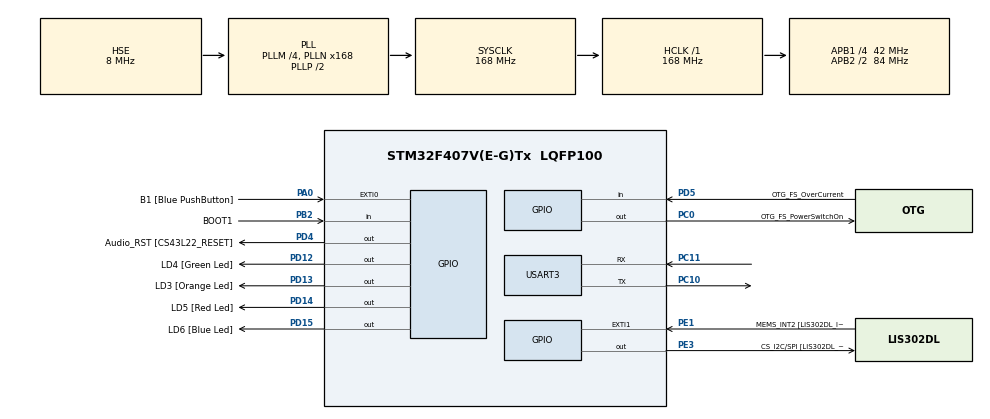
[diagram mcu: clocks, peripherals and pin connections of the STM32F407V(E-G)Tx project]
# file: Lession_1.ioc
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Mcu.Family=STM32F4
Mcu.Name=STM32F407V(E-G)Tx
Mcu.Package=LQFP100
NVIC.PriorityGroup=NVIC_PRIORITYGROUP_0
PA0-WKUP.GPIO_Label=B1 [Blue PushButton]
PA0-WKUP.Signal=GPXTI0
PA10.GPIO_Label=OTG_FS_ID
PA10.GPIO_Mode=GPIO_MODE_AF_PP
PA10.GPIO_PuPd=GPIO_NOPULL
PA10.GPIO_Speed=GPIO_SPEED_FREQ_LOW
PA10.Signal=USB_OTG_FS_ID
PA11.GPIO_Label=OTG_FS_DM
PA11.GPIO_Mode=GPIO_MODE_AF_PP
PA11.GPIO_PuPd=GPIO_NOPULL
PA11.GPIO_Speed=GPIO_SPEED_FREQ_LOW
PA11.Signal=USB_OTG_FS_DM
PA12.GPIO_Label=OTG_FS_DP
PA12.GPIO_Mode=GPIO_MODE_AF_PP
PA12.GPIO_PuPd=GPIO_NOPULL
PA12.GPIO_Speed=GPIO_SPEED_FREQ_LOW
PA12.Signal=USB_OTG_FS_DP
PA13.GPIO_Label=SWDIO
PA13.Mode=Trace_Asynchronous_SW
PA13.Signal=SYS_JTMS-SWDIO
PA14.GPIO_Label=SWCLK
PA14.Mode=Trace_Asynchronous_SW
PA14.Signal=SYS_JTCK-SWCLK
PA4.GPIO_Label=I2S3_WS [CS43L22_LRCK]
PA4.GPIO_Mode=GPIO_MODE_AF_PP
PA4.GPIO_PuPd=GPIO_NOPULL
PA4.GPIO_Speed=GPIO_SPEED_FREQ_LOW
PA4.Signal=I2S3_WS
PA5.GPIO_Label=SPI1_SCK [LIS302DL_SCL/SPC]
PA5.GPIO_Mode=GPIO_MODE_AF_PP
PA5.GPIO_PuPd=GPIO_NOPULL
PA5.GPIO_Speed=GPIO_SPEED_FREQ_LOW
PA5.Signal=SPI1_SCK
PA6.GPIO_Label=SPI1_MISO [LIS302DL_SDO]
PA6.GPIO_Mode=GPIO_MODE_AF_PP
PA6.GPIO_PuPd=GPIO_NOPULL
PA6.GPIO_Speed=GPIO_SPEED_FREQ_LOW
PA6.Signal=SPI1_MISO
PA7.GPIO_Label=SPI1_MOSI [LIS302DL_SDA/SDI/SDO]
PA7.GPIO_Mode=GPIO_MODE_AF_PP
PA7.GPIO_PuPd=GPIO_NOPULL
PA7.GPIO_Speed=GPIO_SPEED_FREQ_LOW
PA7.Signal=SPI1_MOSI
PA9.GPIO_Label=VBUS_FS
PA9.GPIO_Mode=GPIO_MODE_INPUT
PA9.GPIO_PuPd=GPIO_NOPULL
PA9.Signal=USB_OTG_FS_VBUS
PB10.GPIO_Label=CLK_IN [MP45DT02_CLK]
PB10.GPIO_Mode=GPIO_MODE_AF_PP
PB10.GPIO_PuPd=GPIO_NOPULL
PB10.GPIO_Speed=GPIO_SPEED_FREQ_LOW
PB10.Signal=I2S2_CK
PB2.GPIO_Label=BOOT1
PB2.GPIO_Mode=GPIO_MODE_INPUT
PB2.GPIO_PuPd=GPIO_NOPULL
PB2.Signal=GPIO_Input
PB3.GPIO_Label=SWO
PB3.Mode=Trace_Asynchronous_SW
PB3.Signal=SYS_JTDO-SWO
PB6.GPIO_Label=Audio_SCL [CS43L22_SCL]
PB6.GPIO_Mode=GPIO_MODE_AF_OD
PB6.GPIO_PuPd=GPIO_NOPULL
PB6.GPIO_Speed=GPIO_SPEED_FREQ_LOW
PB6.Signal=I2C1_SCL
PB9.GPIO_Label=Audio_SDA [CS43L22_SDA]
PB9.GPIO_Mode=GPIO_MODE_AF_OD
PB9.GPIO_PuPd=GPIO_NOPULL
PB9.GPIO_Speed=GPIO_SPEED_FREQ_LOW
PB9.Signal=I2C1_SDA
PC0.GPIO_Label=OTG_FS_PowerSwitchOn
PC0.GPIO_PuPd=GPIO_NOPULL
PC0.GPIO_Speed=GPIO_SPEED_FREQ_LOW
PC0.PinState=GPIO_PIN_SET
PC0.Signal=GPIO_Output
PC10.Mode=Asynchronous
PC10.Signal=USART3_TX
PC11.Mode=Asynchronous
PC11.Signal=USART3_RX
PC12.GPIO_Label=I2S3_SD [CS43L22_SDIN]
PC12.GPIO_Mode=GPIO_MODE_AF_PP
PC12.GPIO_PuPd=GPIO_NOPULL
PC12.GPIO_Speed=GPIO_SPEED_FREQ_LOW
PC12.Signal=I2S3_SD
PC14-OSC32_IN.GPIO_Label=PC14-OSC32_IN
PC14-OSC32_IN.Signal=RCC_OSC32_IN
PC15-OSC32_OUT.GPIO_Label=PC15-OSC32_OUT
PC15-OSC32_OUT.Signal=RCC_OSC32_OUT
PC3.GPIO_Label=PDM_OUT [MP45DT02_DOUT]
PC3.GPIO_Mode=GPIO_MODE_AF_PP
PC3.GPIO_PuPd=GPIO_NOPULL
PC3.GPIO_Speed=GPIO_SPEED_FREQ_LOW
PC3.Signal=I2S2_SD
PC7.GPIO_Label=I2S3_MCK [CS43L22_MCLK]
PC7.GPIO_Mode=GPIO_MODE_AF_PP
PC7.GPIO_PuPd=GPIO_NOPULL
PC7.GPIO_Speed=GPIO_SPEED_FREQ_LOW
PC7.Signal=I2S3_MCK
PD12.GPIO_Label=LD4 [Green Led]
PD12.GPIO_PuPd=GPIO_NOPULL
PD12.GPIO_Speed=GPIO_SPEED_FREQ_LOW
PD12.Signal=GPIO_Output
PD13.GPIO_Label=LD3 [Orange Led]
PD13.GPIO_PuPd=GPIO_NOPULL
PD13.GPIO_Speed=GPIO_SPEED_FREQ_LOW
PD13.Signal=GPIO_Output
PD14.GPIO_Label=LD5 [Red Led]
PD14.GPIO_PuPd=GPIO_NOPULL
PD14.GPIO_Speed=GPIO_SPEED_FREQ_LOW
PD14.Signal=GPIO_Output
PD15.GPIO_Label=LD6 [Blue Led]
PD15.GPIO_PuPd=GPIO_NOPULL
PD15.GPIO_Speed=GPIO_SPEED_FREQ_LOW
PD15.Signal=GPIO_Output
PD4.GPIO_Label=Audio_RST [CS43L22_RESET]
PD4.GPIO_PuPd=GPIO_NOPULL
PD4.GPIO_Speed=GPIO_SPEED_FREQ_LOW
PD4.Signal=GPIO_Output
PD5.GPIO_Label=OTG_FS_OverCurrent
PD5.GPIO_Mode=GPIO_MODE_INPUT
PD5.GPIO_PuPd=GPIO_NOPULL
PD5.Signal=GPIO_Input
PE1.GPIO_Label=MEMS_INT2 [LIS302DL_INT2]
PE1.GPIO_ModeDefaultEXTI=GPIO_MODE_EVT_RISING
PE1.GPIO_PuPd=GPIO_NOPULL
PE1.Signal=GPXTI1
PE3.GPIO_Label=CS_I2C/SPI [LIS302DL_CS_I2C/SPI]
PE3.GPIO_PuPd=GPIO_NOPULL
PE3.GPIO_Speed=GPIO_SPEED_FREQ_LOW
PE3.Signal=GPIO_Output
PH0-OSC_IN.GPIO_Label=PH0-OSC_IN
PH0-OSC_IN.Mode=HSE-External-Oscillator
PH0-OSC_IN.Signal=RCC_OSC_IN
PH1-OSC_OUT.GPIO_Label=PH1-OSC_OUT
PH1-OSC_OUT.Mode=HSE-External-Oscillator
PH1-OSC_OUT.Signal=RCC_OSC_OUT
ProjectManager.HeapSize=0x200
ProjectManager.StackSize=0x400
ProjectManager.TargetToolchain=MDK-ARM V5.27
RCC.48MHZClocksFreq_Value=48000000
RCC.AHBFreq_Value=168000000
RCC.APB1CLKDivider=RCC_HCLK_DIV4
RCC.APB1Freq_Value=42000000
RCC.APB1TimFreq_Value=84000000
RCC.APB2CLKDivider=RCC_HCLK_DIV2
RCC.APB2Freq_Value=84000000
RCC.APB2TimFreq_Value=168000000
RCC.CortexFreq_Value=168000000
RCC.HCLKFreq_Value=168000000
RCC.HSE_VALUE=8000000
RCC.HSI_VALUE=16000000
RCC.LSE_VALUE=32768
RCC.PLLM=4
RCC.PLLN=168
RCC.PLLQ=7
RCC.PLLSourceVirtual=RCC_PLLSOURCE_HSE
RCC.SYSCLKFreq_VALUE=168000000
RCC.SYSCLKSource=RCC_SYSCLKSOURCE_PLLCLK
RCC.VCOOutputFreq_Value=336000000
USART3.VirtualMode=VM_ASYNC
VP_CRC_VS_CRC.Mode=CRC_Activate
board=STM32F407G-DISC1

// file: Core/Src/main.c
/* USER CODE BEGIN Header */
/**
  ******************************************************************************
  * @file           : main.c
  * @brief          : Main program body
  ******************************************************************************
  * @attention
  *
  * <h2><center>&copy; Copyright (c) 2021 STMicroelectronics.
  * All rights reserved.</center></h2>
  *
  * This software component is licensed by ST under BSD 3-Clause license,
  * the "License"; You may not use this file except in compliance with the
  * License. You may obtain a copy of the License at:
  *                        opensource.org/licenses/BSD-3-Clause
  *
  ******************************************************************************
  */
/* USER CODE END Header */
#include "stdio.h"
#include "stdint.h"
#include "stdbool.h"

/* USER CODE BEGIN Includes */

#include "main.h"

/* USER CODE END Includes */

CRC_HandleTypeDef hcrc;

UART_HandleTypeDef huart3;

#define c_uart	&huart3

void SystemClock_Config(void);
static void MX_GPIO_Init(void);
static void MX_CRC_Init(void);
static void MX_USART3_UART_Init(void);
/* USER CODE BEGIN PFP */

/* Re-implement function fputc: Refer to: */
/* https://developer.arm.com/documentation/dui0475/c/the-arm-c-and-c---libraries/redefining-low-level-library-functions-to-enable-direct-use-of-high-level-library-functions */
/* Private function prototypes -----------------------------------------------*/
struct __FILE
{
  int handle;
  /* Whatever you require here. If the only file you are using is */
  /* standard output using printf() for debugging, no file handling */
  /* is required. */
};
/*send text over SWV*/
int fputc(int ch, FILE *f) {
    ITM_SendChar(ch);//send method for SWV
    return(ch);
}

/* USER CODE END PFP */

/* USER CODE BEGIN 0 */

#define BL_RX_LEN 	200
uint8_t bl_rx_buffer[BL_RX_LEN];

uint8_t supported_command[] = {
				BL_GET_VER,
				BL_GET_HELP,
				BL_GET_CID,
				BL_GET_RDP_STATUS,
				BL_GO_TO_ADDR,
				BL_FLASH_ERASE,
				BL_MEM_WRITE,
				BL_EN_R_W_PROTECT,
				BL_MEM_READ,
				BL_READ_SECTOR_STATUS,
				BL_OTP_READ,
				BL_DIS_R_W_PROTECT
};

/* USER CODE END 0 */

int main(void)
{

  /* MCU Configuration--------------------------------------------------------*/

  /* Reset of all peripherals, Initializes the Flash interface and the Systick. */
  HAL_Init();

  /* Configure the system clock */
  SystemClock_Config();

  /* Initialize all configured peripherals */
  MX_GPIO_Init();
  MX_CRC_Init();
  MX_USART3_UART_Init();

  /* CUSTOM BOOTLOADER CODE BEGIN 2 */
	// User pressed button to confirm using bootloader command
	if (HAL_GPIO_ReadPin(GPIOA, GPIO_PIN_0) == GPIO_PIN_SET) {
		printf("BL_DEBUG_MSG: Button is pressed .. going to BL mode\r\n");
		// continue in bootloader mode
		bootloader_uart_read_data();
	}
	// User not pressed: Confirm move to user application
	else {
		printf("BL_DEBUG_MSG: Button is not pressed .. executing User app\r\n");
		bootloader_jump_to_user_app();
	}
  /* CUSTOM BOOTLOADER CODE END 2 */
}

void bootloader_uart_read_data(void) {
	uint8_t rcv_len = 0;

	while(1) {
		// Default Frame: [Lengh::1Byte] [Command:1Byte] [...] [CRC:4Byte]
		memset(bl_rx_buffer, 0, 200);
		// Here we read ad decode the commands coming from host
		// First read only one byte from the host, which is the "length" field of the command
		HAL_UART_Receive(c_uart, bl_rx_buffer, 1, HAL_MAX_DELAY);
		rcv_len = bl_rx_buffer[0];
		// Next to receive all following data, using the rcv_len
		HAL_UART_Receive(c_uart, &bl_rx_buffer[1], rcv_len, HAL_MAX_DELAY);
		// Swtich command
		switch(bl_rx_buffer[1]) {
			case BL_GET_VER:
				bootloader_handle_getver_cmd(bl_rx_buffer);
				break;
			case BL_GET_HELP:
				bootloader_handle_gethelp_cmd(bl_rx_buffer);
				break;
			case BL_GET_CID:
				bootloader_handle_getcid_cmd(bl_rx_buffer);
				break;
			case BL_GET_RDP_STATUS:
				bootloader_handle_getrdp_cmd(bl_rx_buffer);
				break;
			case BL_GO_TO_ADDR:
				bootloader_handle_go_cmd(bl_rx_buffer);
				break;
			case BL_FLASH_ERASE:
				bootloader_handle_flash_erase_cmd(bl_rx_buffer);
				break;
			case BL_MEM_WRITE:
				bootloader_handle_mem_write_cmd(bl_rx_buffer);
				break;
			case BL_EN_R_W_PROTECT:
				bootloader_handle_enb_rw_cmd(bl_rx_buffer);
				break;
			case BL_MEM_READ:
				bootloader_handle_mem_read_cmd(bl_rx_buffer);
				break;
			case BL_READ_SECTOR_STATUS:
				bootloader_handle_read_flash_cmd(bl_rx_buffer);
				break;
			case BL_OTP_READ:
				bootloader_handle_otp_read_cmd(bl_rx_buffer);
				break;
			case BL_DIS_R_W_PROTECT:
				bootloader_handle_dis_rw_cmd(bl_rx_buffer);
				break;
			default:
				printf("BL_DEBUG_MSG: Invaid command code recieved from host\r\n");
				break;
		}

	}
}

/*
	Code to jump to user application
  Here we use Sector 2 of FASH_SECTOR2_BASE_ADDRESS
  is where the user application stored
*/
void bootloader_jump_to_user_app(void) {
	// Function pointer to hold the address of the reset handler of the user app
	void (*app_reset_handler)(void);

	printf("BL_DEBUG_MSG: Bootloader jump to user application\r\n");

	// 1. Configure the MSP by reading the value from the baseline address of the Flash sector 2
	uint32_t msp_value = *(volatile uint32_t*)FLASH_SECTOR2_BASE_ADDRESS;
	printf("BL_DEBUG_MSG: MSP Value is %#x \r\n", msp_value);
	// Using CMSIS API set MSP
	__set_MSP(msp_value);

	/*
	2. Not fetch the reset handler address of the user application
	from the location FLASH_SECTOR2_BASE_ADDRESS + 4
	*/
	uint32_t resethandler_value = *(volatile uint32_t*) (FLASH_SECTOR2_BASE_ADDRESS + 4);

	app_reset_handler = (void*) resethandler_value;

	printf("BL_DEBUG_MSG: App resethandler addr is %#x \r\n", (uint32_t)app_reset_handler);

	// 3. Change VTOR register and Jump to reset handler of the user application
	SCB->VTOR = FLASH_SECTOR2_BASE_ADDRESS;
	app_reset_handler();
}

void SystemClock_Config(void)
{
  RCC_OscInitTypeDef RCC_OscInitStruct = {0};
  RCC_ClkInitTypeDef RCC_ClkInitStruct = {0};

  /** Configure the main internal regulator output voltage
  */
  __HAL_RCC_PWR_CLK_ENABLE();
  __HAL_PWR_VOLTAGESCALING_CONFIG(PWR_REGULATOR_VOLTAGE_SCALE1);
  /** Initializes the RCC Oscillators according to the specified parameters
  * in the RCC_OscInitTypeDef structure.
  */
  RCC_OscInitStruct.OscillatorType = RCC_OSCILLATORTYPE_HSE;
  RCC_OscInitStruct.HSEState = RCC_HSE_ON;
  RCC_OscInitStruct.PLL.PLLState = RCC_PLL_ON;
  RCC_OscInitStruct.PLL.PLLSource = RCC_PLLSOURCE_HSE;
  RCC_OscInitStruct.PLL.PLLM = 4;
  RCC_OscInitStruct.PLL.PLLN = 168;
  RCC_OscInitStruct.PLL.PLLP = RCC_PLLP_DIV2;
  RCC_OscInitStruct.PLL.PLLQ = 7;
  if (HAL_RCC_OscConfig(&RCC_OscInitStruct) != HAL_OK)
  {
    Error_Handler();
  }
  /** Initializes the CPU, AHB and APB buses clocks
  */
  RCC_ClkInitStruct.ClockType = RCC_CLOCKTYPE_HCLK|RCC_CLOCKTYPE_SYSCLK
                              |RCC_CLOCKTYPE_PCLK1|RCC_CLOCKTYPE_PCLK2;
  RCC_ClkInitStruct.SYSCLKSource = RCC_SYSCLKSOURCE_PLLCLK;
  RCC_ClkInitStruct.AHBCLKDivider = RCC_SYSCLK_DIV1;
  RCC_ClkInitStruct.APB1CLKDivider = RCC_HCLK_DIV4;
  RCC_ClkInitStruct.APB2CLKDivider = RCC_HCLK_DIV2;

  if (HAL_RCC_ClockConfig(&RCC_ClkInitStruct, FLASH_LATENCY_5) != HAL_OK)
  {
    Error_Handler();
  }
}

static void MX_CRC_Init(void)
{

  hcrc.Instance = CRC;
  if (HAL_CRC_Init(&hcrc) != HAL_OK)
  {
    Error_Handler();
  }

}

static void MX_USART3_UART_Init(void)
{

  huart3.Instance = USART3;
  huart3.Init.BaudRate = 115200;
  huart3.Init.WordLength = UART_WORDLENGTH_8B;
  huart3.Init.StopBits = UART_STOPBITS_1;
  huart3.Init.Parity = UART_PARITY_NONE;
  huart3.Init.Mode = UART_MODE_TX_RX;
  huart3.Init.HwFlowCtl = UART_HWCONTROL_NONE;
  huart3.Init.OverSampling = UART_OVERSAMPLING_16;
  if (HAL_UART_Init(&huart3) != HAL_OK)
  {
    Error_Handler();
  }

}

static void MX_GPIO_Init(void)
{
  GPIO_InitTypeDef GPIO_InitStruct = {0};

  /* GPIO Ports Clock Enable */
  __HAL_RCC_GPIOE_CLK_ENABLE();
  __HAL_RCC_GPIOC_CLK_ENABLE();
  __HAL_RCC_GPIOH_CLK_ENABLE();
  __HAL_RCC_GPIOA_CLK_ENABLE();
  __HAL_RCC_GPIOB_CLK_ENABLE();
  __HAL_RCC_GPIOD_CLK_ENABLE();

  /*Configure GPIO pin Output Level */
  HAL_GPIO_WritePin(CS_I2C_SPI_GPIO_Port, CS_I2C_SPI_Pin, GPIO_PIN_RESET);

  /*Configure GPIO pin Output Level */
  HAL_GPIO_WritePin(OTG_FS_PowerSwitchOn_GPIO_Port, OTG_FS_PowerSwitchOn_Pin, GPIO_PIN_SET);

  /*Configure GPIO pin Output Level */
  HAL_GPIO_WritePin(GPIOD, LD4_Pin|LD3_Pin|LD5_Pin|LD6_Pin
                          |Audio_RST_Pin, GPIO_PIN_RESET);

  /*Configure GPIO pin : CS_I2C_SPI_Pin */
  GPIO_InitStruct.Pin = CS_I2C_SPI_Pin;
  GPIO_InitStruct.Mode = GPIO_MODE_OUTPUT_PP;
  GPIO_InitStruct.Pull = GPIO_NOPULL;
  GPIO_InitStruct.Speed = GPIO_SPEED_FREQ_LOW;
  HAL_GPIO_Init(CS_I2C_SPI_GPIO_Port, &GPIO_InitStruct);

  /*Configure GPIO pin : OTG_FS_PowerSwitchOn_Pin */
  GPIO_InitStruct.Pin = OTG_FS_PowerSwitchOn_Pin;
  GPIO_InitStruct.Mode = GPIO_MODE_OUTPUT_PP;
  GPIO_InitStruct.Pull = GPIO_NOPULL;
  GPIO_InitStruct.Speed = GPIO_SPEED_FREQ_LOW;
  HAL_GPIO_Init(OTG_FS_PowerSwitchOn_GPIO_Port, &GPIO_InitStruct);

  /*Configure GPIO pin : PDM_OUT_Pin */
  GPIO_InitStruct.Pin = PDM_OUT_Pin;
  GPIO_InitStruct.Mode = GPIO_MODE_AF_PP;
  GPIO_InitStruct.Pull = GPIO_NOPULL;
  GPIO_InitStruct.Speed = GPIO_SPEED_FREQ_LOW;
  GPIO_InitStruct.Alternate = GPIO_AF5_SPI2;
  HAL_GPIO_Init(PDM_OUT_GPIO_Port, &GPIO_InitStruct);

  /*Configure GPIO pin : B1_Pin */
  GPIO_InitStruct.Pin = B1_Pin;
  GPIO_InitStruct.Mode = GPIO_MODE_IT_RISING;
  GPIO_InitStruct.Pull = GPIO_NOPULL;
  HAL_GPIO_Init(B1_GPIO_Port, &GPIO_InitStruct);

  /*Configure GPIO pin : I2S3_WS_Pin */
  GPIO_InitStruct.Pin = I2S3_WS_Pin;
  GPIO_InitStruct.Mode = GPIO_MODE_AF_PP;
  GPIO_InitStruct.Pull = GPIO_NOPULL;
  GPIO_InitStruct.Speed = GPIO_SPEED_FREQ_LOW;
  GPIO_InitStruct.Alternate = GPIO_AF6_SPI3;
  HAL_GPIO_Init(I2S3_WS_GPIO_Port, &GPIO_InitStruct);

  /*Configure GPIO pins : SPI1_SCK_Pin SPI1_MISO_Pin SPI1_MOSI_Pin */
  GPIO_InitStruct.Pin = SPI1_SCK_Pin|SPI1_MISO_Pin|SPI1_MOSI_Pin;
  GPIO_InitStruct.Mode = GPIO_MODE_AF_PP;
  GPIO_InitStruct.Pull = GPIO_NOPULL;
  GPIO_InitStruct.Speed = GPIO_SPEED_FREQ_LOW;
  GPIO_InitStruct.Alternate = GPIO_AF5_SPI1;
  HAL_GPIO_Init(GPIOA, &GPIO_InitStruct);

  /*Configure GPIO pin : BOOT1_Pin */
  GPIO_InitStruct.Pin = BOOT1_Pin;
  GPIO_InitStruct.Mode = GPIO_MODE_INPUT;
  GPIO_InitStruct.Pull = GPIO_NOPULL;
  HAL_GPIO_Init(BOOT1_GPIO_Port, &GPIO_InitStruct);

  /*Configure GPIO pin : CLK_IN_Pin */
  GPIO_InitStruct.Pin = CLK_IN_Pin;
  GPIO_InitStruct.Mode = GPIO_MODE_AF_PP;
  GPIO_InitStruct.Pull = GPIO_NOPULL;
  GPIO_InitStruct.Speed = GPIO_SPEED_FREQ_LOW;
  GPIO_InitStruct.Alternate = GPIO_AF5_SPI2;
  HAL_GPIO_Init(CLK_IN_GPIO_Port, &GPIO_InitStruct);

  /*Configure GPIO pins : LD4_Pin LD3_Pin LD5_Pin LD6_Pin
                           Audio_RST_Pin */
  GPIO_InitStruct.Pin = LD4_Pin|LD3_Pin|LD5_Pin|LD6_Pin
                          |Audio_RST_Pin;
  GPIO_InitStruct.Mode = GPIO_MODE_OUTPUT_PP;
  GPIO_InitStruct.Pull = GPIO_NOPULL;
  GPIO_InitStruct.Speed = GPIO_SPEED_FREQ_LOW;
  HAL_GPIO_Init(GPIOD, &GPIO_InitStruct);

  /*Configure GPIO pins : I2S3_MCK_Pin I2S3_SD_Pin */
  GPIO_InitStruct.Pin = I2S3_MCK_Pin|I2S3_SD_Pin;
  GPIO_InitStruct.Mode = GPIO_MODE_AF_PP;
  GPIO_InitStruct.Pull = GPIO_NOPULL;
  GPIO_InitStruct.Speed = GPIO_SPEED_FREQ_LOW;
  GPIO_InitStruct.Alternate = GPIO_AF6_SPI3;
  HAL_GPIO_Init(GPIOC, &GPIO_InitStruct);

  /*Configure GPIO pin : VBUS_FS_Pin */
  GPIO_InitStruct.Pin = VBUS_FS_Pin;
  GPIO_InitStruct.Mode = GPIO_MODE_INPUT;
  GPIO_InitStruct.Pull = GPIO_NOPULL;
  HAL_GPIO_Init(VBUS_FS_GPIO_Port, &GPIO_InitStruct);

  /*Configure GPIO pins : OTG_FS_ID_Pin OTG_FS_DM_Pin OTG_FS_DP_Pin */
  GPIO_InitStruct.Pin = OTG_FS_ID_Pin|OTG_FS_DM_Pin|OTG_FS_DP_Pin;
  GPIO_InitStruct.Mode = GPIO_MODE_AF_PP;
  GPIO_InitStruct.Pull = GPIO_NOPULL;
  GPIO_InitStruct.Speed = GPIO_SPEED_FREQ_LOW;
  GPIO_InitStruct.Alternate = GPIO_AF10_OTG_FS;
  HAL_GPIO_Init(GPIOA, &GPIO_InitStruct);

  /*Configure GPIO pin : OTG_FS_OverCurrent_Pin */
  GPIO_InitStruct.Pin = OTG_FS_OverCurrent_Pin;
  GPIO_InitStruct.Mode = GPIO_MODE_INPUT;
  GPIO_InitStruct.Pull = GPIO_NOPULL;
  HAL_GPIO_Init(OTG_FS_OverCurrent_GPIO_Port, &GPIO_InitStruct);

  /*Configure GPIO pins : Audio_SCL_Pin Audio_SDA_Pin */
  GPIO_InitStruct.Pin = Audio_SCL_Pin|Audio_SDA_Pin;
  GPIO_InitStruct.Mode = GPIO_MODE_AF_OD;
  GPIO_InitStruct.Pull = GPIO_PULLUP;
  GPIO_InitStruct.Speed = GPIO_SPEED_FREQ_LOW;
  GPIO_InitStruct.Alternate = GPIO_AF4_I2C1;
  HAL_GPIO_Init(GPIOB, &GPIO_InitStruct);

  /*Configure GPIO pin : MEMS_INT2_Pin */
  GPIO_InitStruct.Pin = MEMS_INT2_Pin;
  GPIO_InitStruct.Mode = GPIO_MODE_EVT_RISING;
  GPIO_InitStruct.Pull = GPIO_NOPULL;
  HAL_GPIO_Init(MEMS_INT2_GPIO_Port, &GPIO_InitStruct);

}

/* USER CODE END 4 */

void Error_Handler(void)
{
  __disable_irq();
  while (1)
  {
  }
}

/************************** Implement of Bootloader Handle command ************/

/* Common helper function */
// ACK and NACK function
void bootloader_send_ack(uint8_t follow_len) {
	// Here we send 2 byte.. First is ACK, Second is len value
	uint8_t ack_buf[2];
	ack_buf[0] = ACK;
	ack_buf[1] = follow_len;
	HAL_UART_Transmit(c_uart, ack_buf, 2, HAL_MAX_DELAY);
}
void bootloader_send_nack() {
	uint8_t nack = NACK;
	HAL_UART_Transmit(c_uart, &nack, 1, HAL_MAX_DELAY);
}

// Function verify crc data
uint8_t bootloader_verify_crc(uint8_t* pBuffer, uint32_t len, uint32_t host_crc) {
	uint32_t uwCRCValue = 0xff;

	/* Reset CRC Calculation Unit (hcrc->Instance->INIT is
  *  written in hcrc->Instance->DR) */
  __HAL_CRC_DR_RESET(&hcrc);

	// Calculation CRC(Without reset CRC value in loop): HAL_CRC_Accumulate
	for ( int i=0; i<len; i++) {
		uint32_t data = pBuffer[i];
		uwCRCValue = HAL_CRC_Accumulate(&hcrc, &data, 1);
	}

	if ( uwCRCValue == host_crc )
		return VERIFY_CRC_SUCCESS; // return success
	else
		return VERIFY_CRC_FAIL;	// return failed
}

// Function to write data into UART3
void bootloader_uart_write_data(uint8_t *pBuffer, uint32_t len) {
	HAL_UART_Transmit(c_uart, pBuffer, len, HAL_MAX_DELAY);
}

// Return bootloader version
uint8_t get_bootloader_version() {
	return (uint8_t) BL_VERSION;
}
/* Helper function to handle: BL_GET_VER command */
void bootloader_handle_getver_cmd(uint8_t *pBuffer){
	printf("BL_DEBUG_MSG: Bootloader get Version BL\r\n");
	uint8_t bl_version;

	// Total length of packet from host
	uint32_t command_packet_len = pBuffer[0] + 1;

	// Get CRC value from host
	uint32_t host_crc = *(uint32_t *) (pBuffer + command_packet_len - 4);

	// 1. Verify checksum(CRC)
	if (!bootloader_verify_crc(pBuffer, command_packet_len - 4, host_crc)) {
		printf("BL_DEBUG_MSG: Checksum is success\r\n");
		// Send Ack
		bootloader_send_ack(sizeof(bl_version));
		bl_version = get_bootloader_version();
		printf("BL_DEBUG_MSG: Bootloader version: %d %x\r\n", bl_version, bl_version);
		bootloader_uart_write_data(&bl_version, 1);
	}
	else {
		printf("BL_DEBUG_MSG: Checksum is failed\r\n");
		// Send NAck
		bootloader_send_nack();
	}
}

/* Helper function to handle: BL_GET_HELP command */
void bootloader_handle_gethelp_cmd(uint8_t *pBuffer){
	printf("BL_DEBUG_MSG: Bootloader get help cmd\r\n");

	// Total length of packet from host
	uint32_t command_packet_len = pBuffer[0] + 1;

	// Get CRC value from host
	uint32_t host_crc = *(uint32_t *) (pBuffer + command_packet_len - 4);

	// 1. Verify checksum(CRC)
	if (!bootloader_verify_crc(pBuffer, command_packet_len - 4, host_crc)) {
		printf("BL_DEBUG_MSG: Checksum is success\r\n");
		// Send Ack
		bootloader_send_ack(sizeof(supported_command));
		bootloader_uart_write_data(supported_command, sizeof(supported_command));
	}
	else {
		printf("BL_DEBUG_MSG: Checksum is failed\r\n");
		// Send NAck
		bootloader_send_nack();
	}
}

// Get chip identifier number function
uint16_t get_mcu_chip_id(void) {
	return ((uint16_t)(DBGMCU->IDCODE) & 0xFFFU);
}

/* Helper function to handle: BL_GET_CID command */
void bootloader_handle_getcid_cmd(uint8_t *pBuffer){
	printf("BL_DEBUG_MSG: Bootloader get CID of MCU\r\n");
	uint16_t get_cid;

	// Total length of packet from host
	uint32_t command_packet_len = pBuffer[0] + 1;

	// Get CRC value from host
	uint32_t host_crc = *(uint32_t *) (pBuffer + command_packet_len - 4);

	// 1. Verify checksum(CRC)
	if (!bootloader_verify_crc(pBuffer, command_packet_len - 4, host_crc)) {
		printf("BL_DEBUG_MSG: Checksum is success\r\n");
		// Send Ack
		get_cid = get_mcu_chip_id();
		bootloader_send_ack(sizeof(get_cid));
		bootloader_uart_write_data((uint8_t*)&get_cid, sizeof(get_cid));
	}
	else {
		printf("BL_DEBUG_MSG: Checksum is failed\r\n");
		// Send NAck
		bootloader_send_nack();
	}

}

// Get flash rdp level function
uint8_t get_flash_rdp_level() {
	return (uint8_t)(*(uint16_t*)(0x1FFFC000U)>>8);
}

/* Helper function to handle: BL_GET_RDP_STATUS command */
void bootloader_handle_getrdp_cmd(uint8_t *pBuffer){
	printf("BL_DEBUG_MSG: Bootloader get flash rdp level\r\n");
	uint8_t get_rdp;

	// Total len
	uint32_t command_packet_len = pBuffer[0] + 1;

	// Get host_crc which sent by host pc
	uint32_t host_crc = *(uint32_t *) (pBuffer + command_packet_len - 4);

	if (!bootloader_verify_crc(pBuffer, command_packet_len - 4, host_crc)) {
		printf("BL_DEBUG_MSG: Checksum success\r\n");
		get_rdp = get_flash_rdp_level();
		bootloader_send_ack(sizeof(get_rdp));
		bootloader_uart_write_data(&get_rdp, sizeof(get_rdp));
	}
	else {
		printf("BL_DEBUG_MSG: Checksum failed\r\n");
		bootloader_send_nack();
	}

}

bool verify_address(uint32_t addr) {
	// Which address which we can jump to?
	// Refer to "main.h"
	if (addr >= SRAM1_BASE && addr <= SRAM1_END)
		return ADDRESS_VALID;
	else if (addr >= SRAM2_BASE && addr <= SRAM2_END)
		return ADDRESS_VALID;
	else if (addr >= FLASH_BASE && addr <= FLASH_END) {
		return ADDRESS_VALID;
	}
	else if (addr >= BKPSRAM_BASE && addr <= BKPSRAM_END)
		return ADDRESS_VALID;
	else
		return ADDRESS_INVALID;
}

/* Helper function to handle: BL_GO_TO_ADDR command */
void bootloader_handle_go_cmd(uint8_t *pBuffer){
	printf("BL_DEBUG_MSG: Bootloader go to address\r\n");
	uint8_t flag = ADDRESS_INVALID;
	uint32_t go_addr = 0;

	// Total length of command packet
	uint32_t command_packet_len = pBuffer[0] + 1;

	// Get value of host_crc
	uint32_t host_crc = *(uint32_t*) (pBuffer + command_packet_len - 4);

	// Verify CRC data
	if (!bootloader_verify_crc(pBuffer, command_packet_len - 4, host_crc)) {
		printf("BL_DEBUG_MSG: BL checksum success\r\n");
		// Send ACK
		bootloader_send_ack(sizeof(flag));
		// Obtain data
		go_addr = *(uint32_t*)&pBuffer[2];
		printf("BL_DEBUG_MSG: Go Address %#x\r\n", go_addr);
		// Verify address
		if (!verify_address(go_addr)) {
			printf("BL_DEBUG_MSG: Go Address %#x ::: Valid\r\n", go_addr);
			// Printf to host to confirm vaild address
			flag = ADDRESS_VALID;
			bootloader_uart_write_data(&flag, 1);

			//Setting if using FLASH sector to programming need to setup VTOR
			if ( FLASH_SECTOR0_BASE_ADDRESS <= go_addr && \
				   go_addr < FLASH_SECTOR1_BASE_ADDRESS)
				SCB->VTOR = FLASH_SECTOR0_BASE_ADDRESS;
			else if ( FLASH_SECTOR1_BASE_ADDRESS <= go_addr && \
				   go_addr < FLASH_SECTOR2_BASE_ADDRESS)
				SCB->VTOR = FLASH_SECTOR1_BASE_ADDRESS;
			else if ( FLASH_SECTOR2_BASE_ADDRESS <= go_addr && \
				   go_addr < FLASH_SECTOR3_BASE_ADDRESS)
				SCB->VTOR = FLASH_SECTOR2_BASE_ADDRESS;
			else if ( FLASH_SECTOR3_BASE_ADDRESS <= go_addr && \
				   go_addr < FLASH_SECTOR4_BASE_ADDRESS)
				SCB->VTOR = FLASH_SECTOR3_BASE_ADDRESS;
			else if ( FLASH_SECTOR4_BASE_ADDRESS <= go_addr && \
				   go_addr < FLASH_SECTOR5_BASE_ADDRESS)
				SCB->VTOR = FLASH_SECTOR4_BASE_ADDRESS;
			else if ( FLASH_SECTOR5_BASE_ADDRESS <= go_addr && \
				   go_addr < FLASH_SECTOR6_BASE_ADDRESS)
				SCB->VTOR = FLASH_SECTOR5_BASE_ADDRESS;
			else if ( FLASH_SECTOR6_BASE_ADDRESS <= go_addr && \
				   go_addr < FLASH_SECTOR7_BASE_ADDRESS)
				SCB->VTOR = FLASH_SECTOR6_BASE_ADDRESS;
			else if ( FLASH_SECTOR7_BASE_ADDRESS <= go_addr && \
				   go_addr < FLASH_SECTOREND_BASE_ADDRESS)
				SCB->VTOR = FLASH_SECTOR7_BASE_ADDRESS;

			// Assume that: Address area of host is correct.
			// Please aware about T bit in Arm cortex:
			// T bit = 0: Using Thumb instruction
			// T bit = 1: Using ARM instruction
			// But ARM cortex just know ARM instruction. T bit = 0 will trigger erro Fault Handler.
			go_addr += 1; // CPU will using the first bit to set T bit(Important point)
			void (*jump_address) (void) = (void*)go_addr;

			// Jump to that address by call
			jump_address();
		}
		// Address invaild
		else {
			printf("BL_DEBUG_MSG: Go Address %#x ::: Invalid\r\n", go_addr);
			bootloader_uart_write_data(&flag, 1);
		}

	}
	// CRC failed
	else {
		printf("BL_DEBUG_MSG: BL checksum failed\r\n");
		bootloader_send_nack();
	}
}

uint8_t execute_flash_erase(uint8_t Sector, uint8_t NumOfSectors) {
	FLASH_EraseInitTypeDef hflash;
	HAL_StatusTypeDef status = HAL_ERROR;
	uint8_t RemainingSectors;
	uint32_t SectorError;

	if ( Sector > 8)
		status = HAL_ERROR;

	if (Sector == 0xff || Sector < 8 ) {
		if ( Sector == 0xff ) {
			hflash.TypeErase = FLASH_TYPEERASE_MASSERASE;
		}
		else {
			RemainingSectors = 8 - Sector;
			if ( NumOfSectors > RemainingSectors ) {
				NumOfSectors = RemainingSectors;
			}
			hflash.TypeErase = FLASH_TYPEERASE_SECTORS;
			hflash.Sector = Sector;
			hflash.NbSectors = NumOfSectors;
		}
		hflash.Banks = FLASH_BANK_1;
		hflash.VoltageRange = FLASH_VOLTAGE_RANGE_3;

		HAL_FLASH_Unlock();
		status = HAL_FLASHEx_Erase(&hflash, &SectorError);
		HAL_FLASH_Lock();
	}

	return status;
}

/* Helper function to handle: BL_FLASH_ERASE command */
void bootloader_handle_flash_erase_cmd(uint8_t *pBuffer){
	printf("BL_DEBUG_MSG: Bootloader call Flash erase cmd\r\n");
	uint8_t erase_status;

	//Store total len of command packet
	uint32_t total_len = pBuffer[0] + 1;

	// Get value of host_crc
	uint32_t host_crc = *(uint32_t*)(pBuffer + total_len - 4);

	// Check CRC
	if (!bootloader_verify_crc(pBuffer, total_len - 4, host_crc)) {
		printf("BL_DEBUG_MSG: checksum success\r\n");
		// Send to host ack
		bootloader_send_ack(1);

		// Print status of flash sector:
		printf("BL_DBG_MSG: Sector: %d and No_of_Sectors: %d\r\n",
			pBuffer[2], pBuffer[3]);
		HAL_GPIO_WritePin(GPIOD, GPIO_PIN_12, GPIO_PIN_SET);
		erase_status = execute_flash_erase(pBuffer[2], pBuffer[3]);
		HAL_GPIO_WritePin(GPIOD, GPIO_PIN_12, GPIO_PIN_RESET);

		printf("BL_DBG_MSG: flase erase status: %#x\r\n", erase_status);
		bootloader_uart_write_data(&erase_status, 1);
	}
	else {
		printf("BL_DEBUG_MSG: checksum failed\r\n");
		bootloader_send_nack();
	}
}

HAL_StatusTypeDef execute_mem_write(uint32_t address, uint8_t* pData, uint8_t len) {
	HAL_StatusTypeDef status;

	HAL_FLASH_Unlock();

	for (int i=0; i<len; i++) {
		status = HAL_FLASH_Program(FLASH_TYPEPROGRAM_BYTE, address + i, pData[i]);
		if (status != HAL_OK)
			break;
	}

	HAL_FLASH_Lock();
	return status;
}

/* Helper function to handle: BL_MEM_WRITE command */
void bootloader_handle_mem_write_cmd(uint8_t *pBuffer){
	printf("BL_DBG_MSG: Bootloader mem write\r\n");

	uint8_t write_status = ADDRESS_INVALID;
	uint8_t payload_len = pBuffer[6];
	uint32_t address = *(uint32_t*)(&pBuffer[2]);

	// get total lenght of command packet
	uint32_t Command_Packet_len = pBuffer[0] + 1;

	// Get value of host_crc
	uint32_t host_crc = *(uint32_t*)(pBuffer + Command_Packet_len - 4);
	if ( !bootloader_verify_crc(pBuffer, Command_Packet_len -4, host_crc)) {
		printf("BL_DBG_MSG: Bootloader checksum success\r\n");
		bootloader_send_ack(1);
		printf("BL_DBG_MSG: Bootloader write mem %#x\r\n", address);
		if ( !verify_address(address) ) {
			printf("BL_DBG_MSG: Address Valid\r\n");

			HAL_GPIO_WritePin(GPIOD, GPIO_PIN_12, GPIO_PIN_SET);
			write_status = execute_mem_write(address, &pBuffer[7], payload_len);
			HAL_GPIO_WritePin(GPIOD, GPIO_PIN_12, GPIO_PIN_RESET);

			bootloader_uart_write_data(&write_status, 1);
		}
		else {
			printf("BL_DBG_MSG: Address Invaid\r\n");
			write_status = ADDRESS_INVALID;
			bootloader_uart_write_data(&write_status, 1);
		}
	}
	else {
		printf("BL_DBG_MSG: Bootloader checksum failed\r\n");
		bootloader_send_nack();
	}
}

uint8_t execute_en_dis_writeprotection(uint8_t mask_sector, uint8_t pro_mode, uint8_t dis_mode) {
	HAL_StatusTypeDef status;
	uint32_t* pOPTCR = (uint32_t*)OPTCR_BYTE0_ADDRESS;
	// STM32F407 just support 1 protection mode: Write protection refer to HW UM
	if (pro_mode == 1) {
		// Unlock flash OB
		HAL_FLASH_OB_Unlock();

		// Wait until BSY flag not set
		while (__HAL_FLASH_GET_FLAG(FLASH_FLAG_BSY) == SET);

		if (dis_mode == 0) {
			*pOPTCR &= ~(mask_sector << 16);
		}
		else {
			*pOPTCR |= (0xffU << 16);
		}

		// Write 1 to OPT Start bit
		*pOPTCR |= 0x02U;

		// Wait until BSY flag not set
		while (__HAL_FLASH_GET_FLAG(FLASH_FLAG_BSY) == SET);

		status = HAL_OK;

		// Lock flash OB
		HAL_FLASH_OB_Lock();
	}
	else
		status = HAL_ERROR;

	return status;
}

/* Helper function to handle: BL_EN_R_W_PROTECT command */
void bootloader_handle_enb_rw_cmd(uint8_t *pBuffer){
	printf("BL_DBG_MSG: Bootloader enable protect flash\r\n");
	uint8_t status;

	// Get length of command packet
	uint32_t command_packet_len = pBuffer[0] + 1;

	// Get value of receive_crc
	uint32_t receive_crc = *(uint32_t*)(pBuffer + command_packet_len - 4);

	if (!bootloader_verify_crc(pBuffer, command_packet_len - 4, receive_crc)) {
		printf("BL_DBG_MSG: Bootloader checksum success\r\n");
		bootloader_send_ack(1);
		status = execute_en_dis_writeprotection(pBuffer[2], pBuffer[3], 0);
		bootloader_uart_write_data(&status, 1);
	}
	else {
		printf("BL_DBG_MSG: Bootloader checksum failed\r\n");
		bootloader_send_nack();
	}
}

/* Helper function to handle: BL_DIS_R_W_PROTECT command */
void bootloader_handle_dis_rw_cmd(uint8_t *pBuffer){
	printf("BL_DBG_MSG: Bootloader disable protect flash\r\n");
	uint8_t status;

	// Get length of command packet
	uint32_t command_packet_len = pBuffer[0] + 1;

	// Get value of receive_crc
	uint32_t receive_crc = *(uint32_t*)(pBuffer + command_packet_len - 4);

	if (!bootloader_verify_crc(pBuffer, command_packet_len - 4, receive_crc)) {
		printf("BL_DBG_MSG: Bootloader checksum success\r\n");
		bootloader_send_ack(1);
		status = execute_en_dis_writeprotection(0, 1, 1);
		bootloader_uart_write_data(&status, 1);
	}
	else {
		printf("BL_DBG_MSG: Bootloader checksum failed\r\n");
		bootloader_send_nack();
	}
}

/* Helper function to handle: BL_MEM_READ command */
void bootloader_handle_mem_read_cmd(uint8_t *pBuffer){

}

/* Helper function to handle: BL_READ_SECTOR_STATUS command */
void bootloader_handle_read_flash_cmd(uint8_t *pBuffer){

}

/* Helper function to handle: BL_OTP_READ command */
void bootloader_handle_otp_read_cmd(uint8_t *pBuffer){

}

/************************ (C) COPYRIGHT STMicroelectronics *****END OF FILE****/
